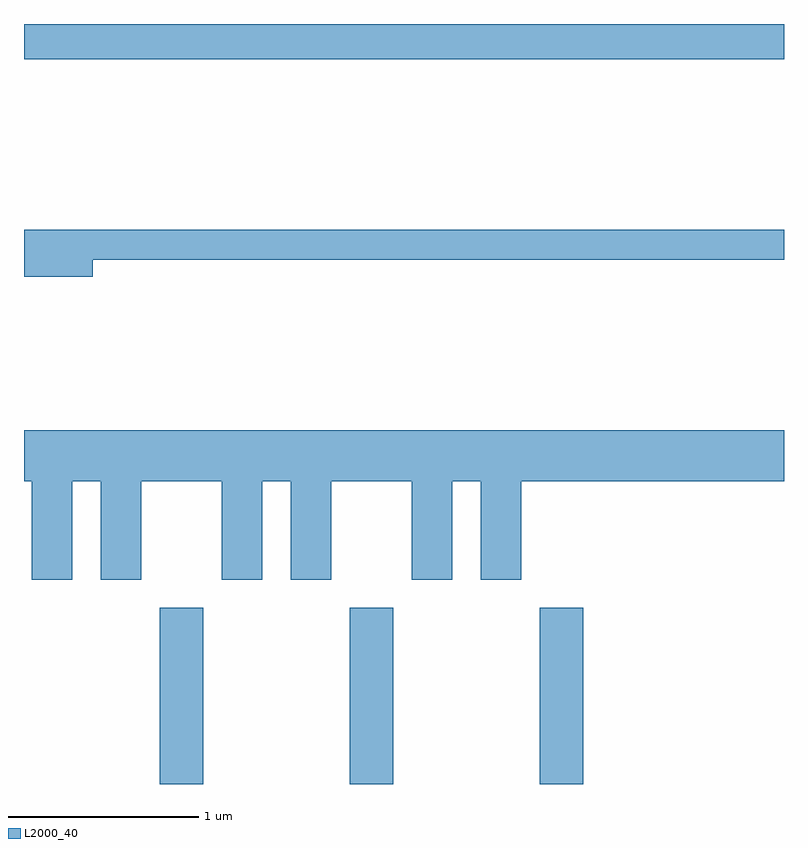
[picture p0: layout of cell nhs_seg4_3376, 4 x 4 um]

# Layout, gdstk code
import gdstk
lib = gdstk.Library(unit=1e-6, precision=1e-09)
def R(c, l, rs):  # rectangles x0, y0, x1, y1
    for r in rs: c.add(gdstk.rectangle(r[:2], r[2:], *l))
def A(c, l, x, y, w, h, nx, ny, dx, dy):  # array of equal rectangles
    R(c, l, [(x+i*dx, y+j*dy, x+i*dx+w, y+j*dy+h) for i in range(nx) for j in range(ny)])
def P(c, l, *ps):  # polygons
    for p in ps: c.add(gdstk.Polygon(p, *l))
L2000_40 = (2000, 40)

nhs_seg4_3376 = lib.new_cell('nhs_seg4_3376')
A(nhs_seg4_3376, L2000_40, 284.326, 1341.982, 0.228, 0.927, 3, 1, 1, 0)
R(nhs_seg4_3376, L2000_40, [(283.611,1345.796,287.611,1345.982)])
P(nhs_seg4_3376, L2000_40, [(283.974,1344.741),(287.611,1344.741),(287.611,1344.899),(283.611,1344.899),(283.611,1344.651),(283.974,1344.651)],
  [(283.864,1343.576),(284.016,1343.576),(284.016,1343.056),(284.229,1343.056),(284.229,1343.576),(284.651,1343.576),(284.651,1343.056),(284.864,1343.056),(284.864,1343.576),(285.016,1343.576),(285.016,1343.056),(285.229,1343.056),(285.229,1343.576),(285.651,1343.576),(285.651,1343.056),(285.864,1343.056),(285.864,1343.576),(286.016,1343.576),(286.016,1343.056),(286.229,1343.056),(286.229,1343.576),(287.611,1343.576),(287.611,1343.844),(283.611,1343.844),(283.611,1343.576),(283.651,1343.576),(283.651,1343.056),(283.864,1343.056)])

lib.write_gds('nhs_seg4_3376.gds')
